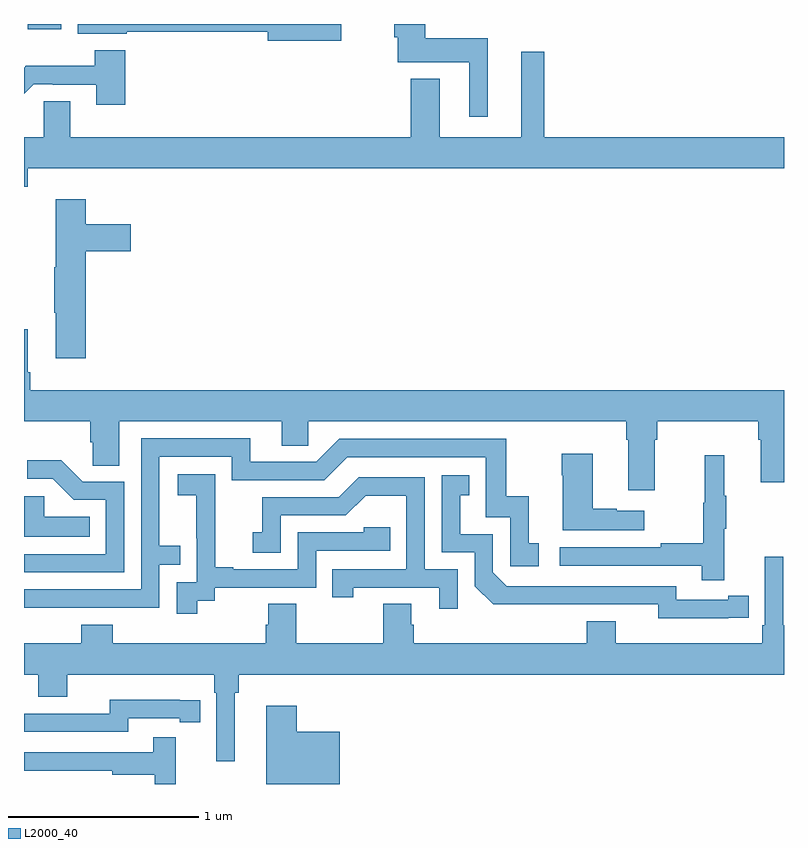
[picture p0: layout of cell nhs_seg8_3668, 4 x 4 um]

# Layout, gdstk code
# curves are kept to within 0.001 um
import gdstk
lib = gdstk.Library(unit=1e-6, precision=1e-09)
def R(c, l, rs):  # rectangles x0, y0, x1, y1
    for r in rs: c.add(gdstk.rectangle(r[:2], r[2:], *l))
def P(c, l, *ps):  # polygons
    for p in ps: c.add(gdstk.Polygon(p, *l))
L2000_40 = (2000, 40)

nhs_seg8_3668 = lib.new_cell('nhs_seg8_3668')
R(nhs_seg8_3668, L2000_40, [(337.02,1143.872,337.197,1143.9)])
P(nhs_seg8_3668, L2000_40, [(339.442,1143.826),(339.112,1143.826),(339.112,1143.9),(338.948,1143.9),(338.948,1143.831),(338.966,1143.831),(338.966,1143.698),(339.344,1143.698),(339.344,1143.411),(339.442,1143.411)],
  [(338.671,1143.9),(337.282,1143.9),(337.282,1143.848),(337.54,1143.848),(337.54,1143.859),(338.282,1143.859),(338.282,1143.812),(338.671,1143.812)],
  [(337.532,1143.763),(337.372,1143.763),(337.372,1143.679),(337.009,1143.679),(337,1143.67),(337,1143.532),(337.05,1143.582),(337.15,1143.582),(337.15,1143.579),(337.379,1143.579),(337.379,1143.474),(337.532,1143.474)],
  [(337.019,1143.14),(341,1143.14),(341,1143.304),(339.739,1143.304),(339.739,1143.754),(339.617,1143.754),(339.617,1143.304),(339.187,1143.304),(339.187,1143.613),(339.035,1143.613),(339.035,1143.304),(337.243,1143.304),(337.243,1143.494),(337.104,1143.494),(337.104,1143.304),(337,1143.304),(337,1143.044),(337.019,1143.044)],
  [(337.325,1142.705),(337.561,1142.705),(337.561,1142.847),(337.325,1142.847),(337.325,1142.977),(337.166,1142.977),(337.166,1142.621),(337.159,1142.621),(337.159,1142.38),(337.166,1142.38),(337.166,1142.142),(337.325,1142.142)],
  [(340.321,1141.712),(340.334,1141.712),(340.334,1141.808),(340.865,1141.808),(340.865,1141.712),(340.877,1141.712),(340.877,1141.488),(341,1141.488),(341,1141.972),(337.034,1141.972),(337.034,1142.068),(337.021,1142.068),(337.021,1142.293),(337,1142.293),(337,1141.808),(337.349,1141.808),(337.349,1141.699),(337.362,1141.699),(337.362,1141.576),(337.501,1141.576),(337.501,1141.808),(338.357,1141.808),(338.357,1141.681),(338.496,1141.681),(338.496,1141.808),(340.169,1141.808),(340.169,1141.712),(340.181,1141.712),(340.181,1141.446),(340.321,1141.446)],
  [(337.217,1140.828),(337.713,1140.828),(337.713,1141.053),(337.823,1141.053),(337.823,1141.154),(337.713,1141.154),(337.713,1141.623),(338.094,1141.623),(338.094,1141.5),(338.58,1141.5),(338.7,1141.62),(339.429,1141.62),(339.429,1141.305),(339.558,1141.305),(339.558,1141.047),(339.709,1141.047),(339.709,1141.167),(339.656,1141.167),(339.656,1141.414),(339.538,1141.414),(339.538,1141.716),(338.658,1141.716),(338.538,1141.596),(338.191,1141.596),(338.191,1141.719),(337.617,1141.719),(337.617,1140.924),(337,1140.924),(337,1140.827)],
  [(340.264,1141.339),(340.121,1141.339),(340.121,1141.349),(339.994,1141.349),(339.994,1141.639),(339.829,1141.639),(339.829,1141.526),(339.836,1141.526),(339.836,1141.235),(340.264,1141.235)],
  [(340.685,1141.243),(340.696,1141.243),(340.696,1141.417),(340.685,1141.417),(340.685,1141.63),(340.582,1141.63),(340.582,1141.38),(340.575,1141.38),(340.575,1141.166),(340.351,1141.166),(340.351,1141.146),(339.819,1141.146),(339.819,1141.05),(340.567,1141.05),(340.567,1140.972),(340.685,1140.972)],
  [(337.527,1141.491),(337.308,1141.491),(337.195,1141.604),(337.017,1141.604),(337.017,1141.506),(337.151,1141.506),(337.262,1141.395),(337.431,1141.395),(337.431,1141.11),(337,1141.11),(337,1141.014),(337.527,1141.014)],
  [(337.912,1140.865),(338.004,1140.865),(338.004,1140.933),(338.538,1140.933),(338.538,1141.128),(338.927,1141.128),(338.927,1141.251),(338.787,1141.251),(338.787,1141.224),(338.442,1141.224),(338.442,1141.029),(338.101,1141.029),(338.101,1141.042),(338.006,1141.042),(338.006,1141.325),(338.007,1141.325),(338.007,1141.531),(337.809,1141.531),(337.809,1141.421),(337.907,1141.421),(337.907,1141.193),(337.908,1141.193),(337.908,1140.963),(337.803,1140.963),(337.803,1140.795),(337.912,1140.795)],
  [(340.706,1140.774),(340.814,1140.774),(340.814,1140.89),(340.706,1140.89),(340.706,1140.87),(340.434,1140.87),(340.434,1140.942),(339.54,1140.942),(339.468,1141.014),(339.468,1141.215),(339.295,1141.215),(339.295,1141.419),(339.344,1141.419),(339.344,1141.525),(339.198,1141.525),(339.198,1141.119),(339.372,1141.119),(339.372,1140.942),(339.47,1140.845),(340.338,1140.846),(340.338,1140.773)],
  [(339.282,1141.029),(339.108,1141.029),(339.108,1141.515),(338.762,1141.515),(338.657,1141.41),(338.254,1141.41),(338.254,1141.225),(338.205,1141.225),(338.205,1141.116),(338.352,1141.116),(338.352,1141.314),(338.694,1141.314),(338.798,1141.418),(339.012,1141.418),(339.012,1141.029),(338.623,1141.029),(338.623,1140.882),(338.734,1140.882),(338.734,1140.933),(339.185,1140.933),(339.185,1140.822),(339.282,1140.822)],
  [(337.346,1141.306),(337.107,1141.306),(337.107,1141.414),(337,1141.414),(337,1141.202),(337.346,1141.202)],
  [(338.11,1140.38),(338.129,1140.38),(338.129,1140.476),(341,1140.476),(341,1140.736),(340.996,1140.736),(340.996,1141.096),(340.899,1141.096),(340.899,1140.736),(340.886,1140.736),(340.886,1140.64),(340.114,1140.64),(340.114,1140.757),(339.962,1140.757),(339.962,1140.64),(339.05,1140.64),(339.05,1140.738),(339.037,1140.738),(339.037,1140.848),(338.89,1140.848),(338.89,1140.64),(338.433,1140.64),(338.433,1140.848),(338.285,1140.848),(338.285,1140.738),(338.273,1140.738),(338.273,1140.64),(337.466,1140.64),(337.466,1140.739),(337.301,1140.739),(337.301,1140.64),(337,1140.64),(337,1140.476),(337.076,1140.476),(337.076,1140.359),(337.228,1140.359),(337.228,1140.476),(338,1140.476),(338,1140.38),(338.013,1140.38),(338.013,1140.021),(338.11,1140.021)],
  [(337.548,1140.246),(337.82,1140.246),(337.82,1140.226),(337.928,1140.226),(337.928,1140.342),(337.82,1140.342),(337.82,1140.343),(337.452,1140.343),(337.452,1140.27),(337,1140.27),(337,1140.174),(337.548,1140.174)],
  [(338.662,1140.175),(338.435,1140.175),(338.435,1140.313),(338.276,1140.313),(338.276,1139.9),(338.662,1139.9)],
  [(337.799,1140.145),(337.681,1140.145),(337.681,1140.066),(337,1140.066),(337,1139.97),(337.465,1139.97),(337.465,1139.95),(337.689,1139.95),(337.689,1139.9),(337.799,1139.9)])

lib.write_gds('nhs_seg8_3668.gds')
